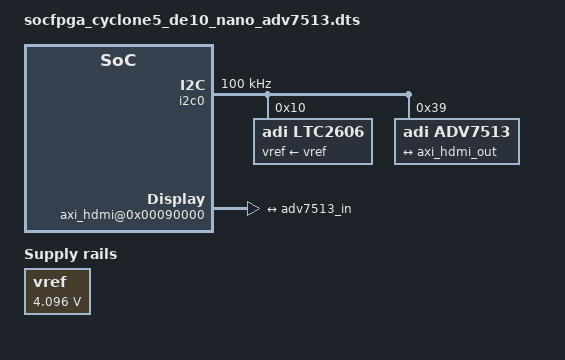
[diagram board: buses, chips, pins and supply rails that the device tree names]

// SPDX-License-Identifier: GPL-2.0
/*
 * Analog Devices AD7768-1
 * https://www.analog.com/en/products/ad7768-1.html
 * https://wiki.analog.com/resources/tools-software/linux-build/generic/socfpga
 *
 * hdl_project: <ad77681evb/de10>
 * board_revision: <A>
 *
 * Copyright (C) 2020 Analog Devices Inc.
 */
/dts-v1/;
#include "socfpga_cyclone5_de10_nano.dtsi"
#include <dt-bindings/interrupt-controller/irq.h>
#include <dt-bindings/gpio/gpio.h>


/ {
	vref: regulator-vref {
		compatible = "regulator-fixed";
		regulator-name = "fixed-supply";
		regulator-min-microvolt = <4096000>;
		regulator-max-microvolt = <4096000>;
		regulator-always-on;
	};

	clocks {
		sys_clk: sys_clk {
			#clock-cells = <0x0>;
			compatible = "fixed-clock";
			clock-frequency = <50000000>;
			clock-output-names = "sys_clk";
		};

		dma_clk: dma_clk {
			#clock-cells = <0x0>;
			compatible = "fixed-clock";
			clock-frequency = <50000000>;
			clock-output-names = "dma_clk";
		};

		pixel_clk_pll: pixel_clk_pll {
			#clock-cells = <0x0>;
			compatible = "fixed-clock";
			clock-frequency = <74250000>;
			clock-output-names = "pixel_clk_pll";
		};
	};
};

&i2c0 {
	clock-frequency = <100000>;
	ltc2606: ltc2606@0x10 {
		compatible = "adi,ltc2606";
		reg = <0x10>;
		vref-supply = <&vref>;
	};

	adv7513: adv7513@0x39 {
		    compatible = "adi,adv7513";
		    reg = <0x39>, <0x3f>;
		    reg-names = "primary", "edid";

		    adi,input-depth = <8>;
		    adi,input-colorspace = "rgb";
		    adi,input-clock = "1x";
		    adi,clock-delay = <0>;

		    #sound-dai-cells = <0>;

		    ports {
			    #address-cells = <1>;
			    #size-cells = <0>;

			    port@0 {
				    reg = <0>;
				    adv7513_in: endpoint {
					    remote-endpoint = <&axi_hdmi_out>;
				    };
			    };

			    port@1 {
				    reg = <1>;
			    };
		    };
	};
};

&fpga_axi {


	gpio_in: gpio_in@0x00010100 {
		compatible = "altr,pio-18.1", "altr,pio-1.0";
		reg = <0x00010100 0x00000010>;
		altr,gpio-bank-width = <32>;
		altr,interrupt-type = <4>;
		altr,interrupt_type = <4>;
		level_trigger = <1>;
		resetvalue = <0>;
		#gpio-cells = <2>;
		gpio-controller;
	};

	gpio_out: gpio_out@0x00109000 {
		compatible = "altr,pio-1.0";
		reg = <0x00109000 0x00000010>;
		altr,gpio-bank-width = <32>;
		resetvalue = <0>;
		#gpio-cells = <2>;
		gpio-controller;
	};

	hdmi_tx_dma: dma@0x00080000 {
		compatible = "adi,axi-dmac-1.00.a";
		reg = <0x00080000 0x10000>;
		interrupt-parent = <&intc>;
		interrupts = <0 47 IRQ_TYPE_LEVEL_HIGH>;
		#dma-cells = <1>;
		clocks = <&dma_clk>;

		adi,channels {
			#size-cells = <0>;
			#address-cells = <1>;

			dma-channel@0 {
				reg = <0>;
				adi,source-bus-width = <64>;
				adi,source-bus-type = <0>;
				adi,destination-bus-width = <64>;
				adi,destination-bus-type = <1>;
			};
		};
	};

	axi_hdmi@0x00090000 {
		compatible = "adi,axi-hdmi-tx-1.00.a";
		reg = <0x00090000 0x10000>;
		dmas = <&hdmi_tx_dma 0>;
		dma-names = "video";
		clocks = <&pixel_clk_pll>;
		adi,is-rgb;

		port {
			axi_hdmi_out: endpoint {
				remote-endpoint = <&adv7513_in>;
			};
		};
	};
};
